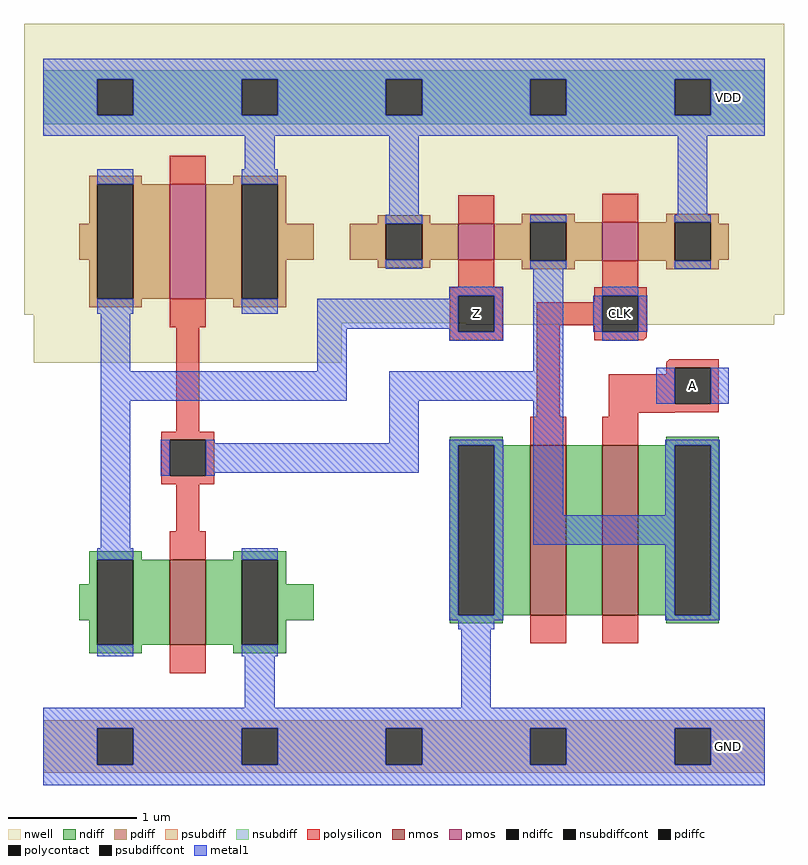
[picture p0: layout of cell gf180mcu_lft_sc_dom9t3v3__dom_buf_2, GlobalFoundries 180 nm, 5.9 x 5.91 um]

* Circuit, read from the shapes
.subckt gf180mcu_lft_sc_dom9t3v3__dom_buf_2 GND VDD A CLK Z
XM1 GND n1 Z GND nfet_03v3 w=0.66u l=0.28u
XM2 n2 CLK GND GND nfet_03v3 w=1.32u l=0.28u
XM3 n1 A n2 GND nfet_03v3 w=1.32u l=0.28u
XM4 VDD n1 Z VDD pfet_03v3 w=0.89u l=0.28u
XM5 n1 Z VDD VDD pfet_03v3 w=0.28u l=0.28u
XM6 VDD CLK n1 VDD pfet_03v3 w=0.3u l=0.28u
.ends

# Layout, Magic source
magic
tech gf180mcuD
magscale 1 10
<< nwell >>
rect -30 670 1150 1122
rect -15 657 1135 670
rect -15 596 463 657
rect 657 655 1135 657
<< nmos >>
rect 196 158 252 290
rect 756 204 812 468
rect 868 204 924 468
<< pmos >>
rect 196 695 252 873
rect 644 756 700 812
rect 868 754 924 814
<< ndiff >>
rect 631 468 713 481
rect 967 468 1049 481
rect 71 290 153 303
rect 295 290 377 303
rect 71 252 84 290
rect 56 196 84 252
rect 71 158 84 196
rect 140 158 196 290
rect 252 158 308 290
rect 364 252 377 290
rect 364 196 420 252
rect 631 204 644 468
rect 700 204 756 468
rect 812 204 868 468
rect 924 204 980 468
rect 1036 204 1049 468
rect 364 158 377 196
rect 631 191 713 204
rect 967 191 1049 204
rect 71 145 153 158
rect 295 145 377 158
<< pdiff >>
rect 71 873 153 886
rect 295 873 377 886
rect 71 812 84 873
rect 56 756 84 812
rect 71 695 84 756
rect 140 695 196 873
rect 252 695 308 873
rect 364 812 377 873
rect 519 812 601 825
rect 743 814 825 827
rect 967 814 1049 827
rect 743 812 756 814
rect 364 756 420 812
rect 476 756 532 812
rect 588 756 644 812
rect 700 756 756 812
rect 364 695 377 756
rect 519 743 601 756
rect 743 754 756 756
rect 812 754 868 814
rect 924 754 980 814
rect 1036 812 1049 814
rect 1036 756 1064 812
rect 1036 754 1049 756
rect 743 741 825 754
rect 967 741 1049 754
rect 71 682 153 695
rect 295 682 377 695
<< ndiffc >>
rect 84 158 140 290
rect 308 158 364 290
rect 644 204 700 468
rect 980 204 1036 468
<< pdiffc >>
rect 84 695 140 873
rect 308 695 364 873
rect 532 756 588 812
rect 756 754 812 814
rect 980 754 1036 814
<< psubdiff >>
rect 0 28 1120 41
rect 0 -28 84 28
rect 140 -28 308 28
rect 364 -28 532 28
rect 588 -28 756 28
rect 812 -28 980 28
rect 1036 -28 1120 28
rect 0 -41 1120 -28
<< nsubdiff >>
rect 0 1036 1120 1050
rect 0 980 84 1036
rect 140 980 308 1036
rect 364 980 532 1036
rect 588 980 756 1036
rect 812 980 980 1036
rect 1036 980 1120 1036
rect 0 966 1120 980
<< psubdiffcont >>
rect 84 -28 140 28
rect 308 -28 364 28
rect 532 -28 588 28
rect 756 -28 812 28
rect 980 -28 1036 28
<< nsubdiffcont >>
rect 84 980 140 1036
rect 308 980 364 1036
rect 532 980 588 1036
rect 756 980 812 1036
rect 980 980 1036 1036
<< polysilicon >>
rect 196 873 252 917
rect 644 812 700 856
rect 868 814 924 858
rect 644 713 700 756
rect 868 713 924 754
rect 196 651 252 695
rect 631 700 713 713
rect 206 489 242 651
rect 631 644 644 700
rect 700 644 713 700
rect 855 700 937 713
rect 855 690 868 700
rect 631 631 713 644
rect 766 654 868 690
rect 766 512 802 654
rect 855 644 868 654
rect 924 644 937 700
rect 855 636 937 644
rect 855 634 936 636
rect 855 632 934 634
rect 855 631 932 632
rect 972 600 1049 601
rect 970 598 1049 600
rect 968 596 1049 598
rect 967 588 1049 596
rect 967 578 980 588
rect 878 532 980 578
rect 1036 532 1049 588
rect 878 519 1049 532
rect 878 518 980 519
rect 878 512 924 518
rect 183 476 265 489
rect 183 420 196 476
rect 252 420 265 476
rect 183 407 265 420
rect 756 468 812 512
rect 868 468 924 512
rect 206 334 242 407
rect 196 290 252 334
rect 756 160 812 204
rect 868 160 924 204
rect 196 114 252 158
<< polycontact >>
rect 644 644 700 700
rect 868 644 924 700
rect 980 532 1036 588
rect 196 420 252 476
<< metal1 >>
rect 0 1036 1120 1068
rect 0 980 84 1036
rect 140 980 308 1036
rect 364 980 532 1036
rect 588 980 756 1036
rect 812 980 980 1036
rect 1036 980 1120 1036
rect 0 948 1120 980
rect 313 896 359 948
rect 84 873 140 896
rect 84 672 140 695
rect 308 873 364 896
rect 537 826 583 948
rect 985 826 1031 948
rect 532 812 588 826
rect 532 742 588 756
rect 756 814 812 826
rect 756 742 812 754
rect 980 814 1036 826
rect 980 742 1036 754
rect 630 700 714 714
rect 630 695 644 700
rect 308 672 364 695
rect 89 583 135 672
rect 425 649 644 695
rect 425 583 471 649
rect 630 644 644 649
rect 700 644 714 700
rect 630 630 714 644
rect 761 583 807 742
rect 868 700 924 714
rect 854 644 868 700
rect 924 644 938 700
rect 868 630 924 644
rect 89 537 471 583
rect 537 537 807 583
rect 89 308 135 537
rect 182 420 196 476
rect 252 471 266 476
rect 537 471 583 537
rect 252 425 583 471
rect 630 468 714 476
rect 252 420 266 425
rect 84 290 140 308
rect 84 140 140 158
rect 308 290 364 308
rect 630 204 644 468
rect 700 204 714 468
rect 761 359 807 537
rect 952 532 980 588
rect 1036 532 1064 588
rect 966 468 1050 476
rect 966 359 980 468
rect 761 313 980 359
rect 630 196 714 204
rect 966 204 980 313
rect 1036 204 1050 468
rect 966 196 1050 204
rect 644 182 700 196
rect 308 140 364 158
rect 313 60 359 140
rect 649 60 695 182
rect 0 28 1120 60
rect 0 -28 84 28
rect 140 -28 308 28
rect 364 -28 532 28
rect 588 -28 756 28
rect 812 -28 980 28
rect 1036 -28 1120 28
rect 0 -60 1120 -28
<< labels >>
rlabel metal1 1064 0 1064 0 3 GND
port 1 e
rlabel metal1 1064 1008 1064 1008 3 VDD
port 2 e
rlabel polycontact 1008 560 1008 560 3 A
port 3 e
rlabel polycontact 896 672 896 672 3 CLK
port 4 e
rlabel polycontact 672 672 672 672 3 Z
port 5 e
<< properties >>
string FIXED_BBOX 0 0 1120 1008
<< end >>
